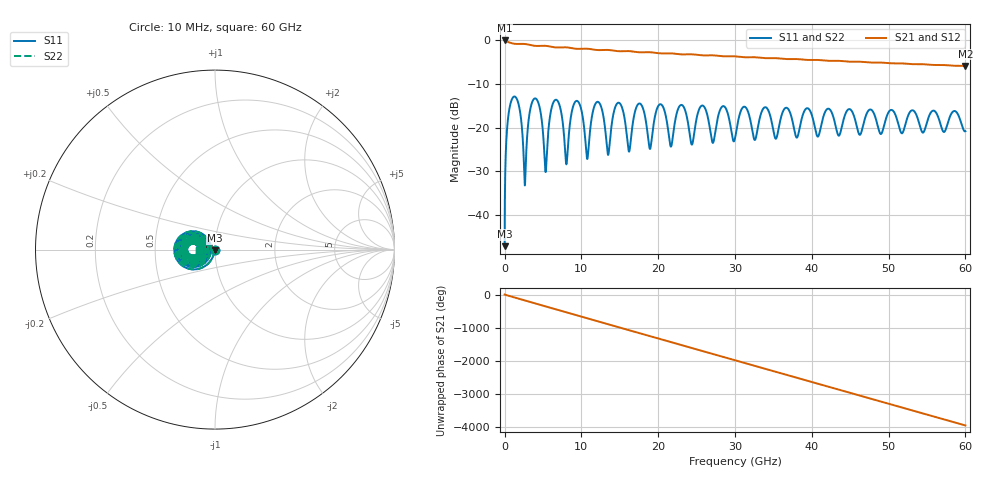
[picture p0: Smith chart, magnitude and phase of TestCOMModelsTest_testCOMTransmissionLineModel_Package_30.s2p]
! File created by SignalIntegrity v1.3.5: Signal and Power Integrity Tools
! https://github.com/TeledyneLeCroy/SignalIntegrity
# MHz S MA R 50.0
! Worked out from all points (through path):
!   6000 points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, 10 MHz to 60 GHz, reference 50 ohm
!   highest |S21| = -0.05 dB at 10 MHz (marker M1); lowest = -5.9 dB at 60 GHz (marker M2)
!   group delay of S21, straight-line fit = 183 ps
!   lowest |S11| = -47.2 dB at 10 MHz (marker M3), VSWR 1.01, Z = 49.9 - j0.414 ohm
!   |S11| at or under -10 dB: start of sweep to end of sweep
!   |S22| runs from -47.2 to -12.9 dB; largest |S21 - S12| = 0
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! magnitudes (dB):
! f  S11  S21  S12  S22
! 10 MHz  -47.2  0.0  0.0  -47.2
! 430 MHz  -18.3  -0.4  -0.4  -18.3
! 1.12 GHz  -13.0  -0.8  -0.8  -13.0
! 2.64 GHz  -33.3  -0.9  -0.9  -33.3
! 3.86 GHz  -13.4  -1.3  -1.3  -13.4
! 5.34 GHz  -30.2  -1.3  -1.3  -30.2
! 6.51 GHz  -13.8  -1.6  -1.6  -13.8
! 8.05 GHz  -28.4  -1.6  -1.6  -28.4
! 10.01 GHz  -16.0  -2.0  -2.0  -16.0
! 10.77 GHz  -27.2  -1.9  -1.9  -27.2
! 12.03 GHz  -14.2  -2.2  -2.2  -14.2
! 13.49 GHz  -26.3  -2.2  -2.2  -26.3
! 14.71 GHz  -14.4  -2.5  -2.5  -14.4
! 16.21 GHz  -25.5  -2.5  -2.5  -25.5
! 20.01 GHz  -15.1  -3.0  -3.0  -15.1
! 21.65 GHz  -24.4  -3.0  -3.0  -24.4
! 23.01 GHz  -14.8  -3.2  -3.2  -14.8
! 24.37 GHz  -23.9  -3.2  -3.2  -23.9
! 30.01 GHz  -22.4  -3.7  -3.7  -22.4
! 40.01 GHz  -17.2  -4.5  -4.5  -17.2
! 50.01 GHz  -16.5  -5.3  -5.3  -16.5
! 60 GHz  -20.9  -5.9  -5.9  -20.9
